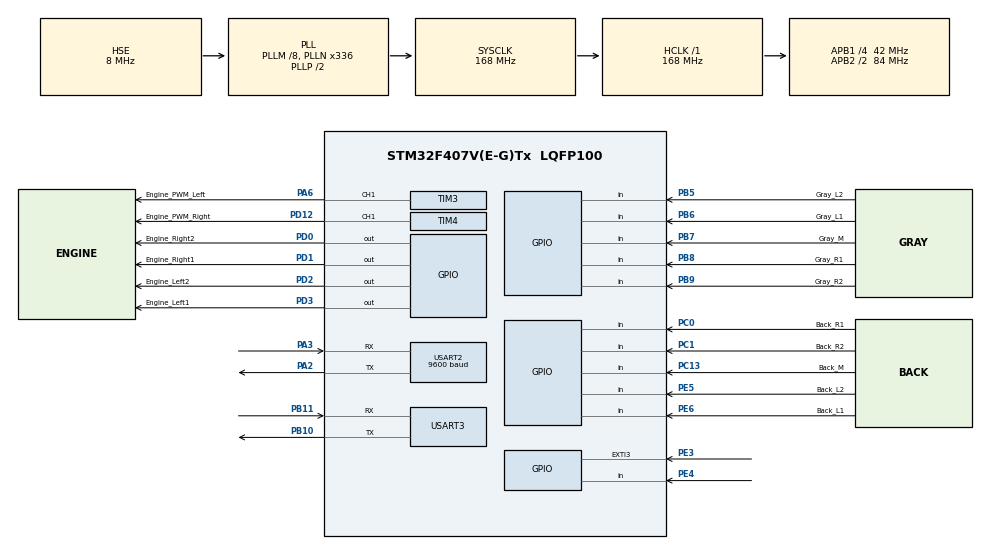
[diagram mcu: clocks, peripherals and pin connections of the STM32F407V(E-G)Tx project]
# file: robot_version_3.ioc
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Dma.Request0=USART3_RX
Dma.Request1=USART3_TX
Dma.Request2=USART2_RX
Dma.Request3=USART2_TX
Dma.USART2_RX.2.Direction=DMA_PERIPH_TO_MEMORY
Dma.USART2_RX.2.FIFOMode=DMA_FIFOMODE_DISABLE
Dma.USART2_RX.2.Instance=DMA1_Stream5
Dma.USART2_RX.2.MemDataAlignment=DMA_MDATAALIGN_BYTE
Dma.USART2_RX.2.MemInc=DMA_MINC_ENABLE
Dma.USART2_RX.2.Mode=DMA_NORMAL
Dma.USART2_RX.2.PeriphDataAlignment=DMA_PDATAALIGN_BYTE
Dma.USART2_RX.2.PeriphInc=DMA_PINC_DISABLE
Dma.USART2_RX.2.Priority=DMA_PRIORITY_LOW
Dma.USART2_TX.3.Direction=DMA_MEMORY_TO_PERIPH
Dma.USART2_TX.3.FIFOMode=DMA_FIFOMODE_DISABLE
Dma.USART2_TX.3.Instance=DMA1_Stream6
Dma.USART2_TX.3.MemDataAlignment=DMA_MDATAALIGN_BYTE
Dma.USART2_TX.3.MemInc=DMA_MINC_ENABLE
Dma.USART2_TX.3.Mode=DMA_NORMAL
Dma.USART2_TX.3.PeriphDataAlignment=DMA_PDATAALIGN_BYTE
Dma.USART2_TX.3.PeriphInc=DMA_PINC_DISABLE
Dma.USART2_TX.3.Priority=DMA_PRIORITY_LOW
Dma.USART3_RX.0.Direction=DMA_PERIPH_TO_MEMORY
Dma.USART3_RX.0.FIFOMode=DMA_FIFOMODE_DISABLE
Dma.USART3_RX.0.Instance=DMA1_Stream1
Dma.USART3_RX.0.MemDataAlignment=DMA_MDATAALIGN_BYTE
Dma.USART3_RX.0.MemInc=DMA_MINC_ENABLE
Dma.USART3_RX.0.Mode=DMA_NORMAL
Dma.USART3_RX.0.PeriphDataAlignment=DMA_PDATAALIGN_BYTE
Dma.USART3_RX.0.PeriphInc=DMA_PINC_DISABLE
Dma.USART3_RX.0.Priority=DMA_PRIORITY_LOW
Dma.USART3_TX.1.Direction=DMA_MEMORY_TO_PERIPH
Dma.USART3_TX.1.FIFOMode=DMA_FIFOMODE_DISABLE
Dma.USART3_TX.1.Instance=DMA1_Stream3
Dma.USART3_TX.1.MemDataAlignment=DMA_MDATAALIGN_BYTE
Dma.USART3_TX.1.MemInc=DMA_MINC_ENABLE
Dma.USART3_TX.1.Mode=DMA_NORMAL
Dma.USART3_TX.1.PeriphDataAlignment=DMA_PDATAALIGN_BYTE
Dma.USART3_TX.1.PeriphInc=DMA_PINC_DISABLE
Dma.USART3_TX.1.Priority=DMA_PRIORITY_LOW
Mcu.Family=STM32F4
Mcu.Name=STM32F407V(E-G)Tx
Mcu.Package=LQFP100
NVIC.DMA1_Stream1_IRQn=true\:0\:0\:false\:false\:true\:false\:true\:true
NVIC.DMA1_Stream3_IRQn=true\:0\:0\:false\:false\:true\:false\:true\:true
NVIC.DMA1_Stream5_IRQn=true\:0\:0\:false\:false\:true\:false\:true\:true
NVIC.DMA1_Stream6_IRQn=true\:0\:0\:false\:false\:true\:false\:true\:true
NVIC.EXTI3_IRQn=true\:12\:0\:true\:false\:true\:true\:true\:true
NVIC.PriorityGroup=NVIC_PRIORITYGROUP_4
NVIC.TIM2_IRQn=true\:1\:0\:true\:false\:true\:true\:true\:true
NVIC.TIM3_IRQn=true\:3\:0\:true\:false\:true\:true\:true\:true
NVIC.TIM4_IRQn=true\:3\:0\:true\:false\:true\:true\:true\:true
NVIC.TIM5_IRQn=true\:5\:0\:true\:false\:true\:true\:true\:true
NVIC.TIM6_DAC_IRQn=true\:7\:0\:true\:false\:true\:true\:true\:true
NVIC.USART2_IRQn=true\:0\:0\:false\:false\:true\:true\:true\:true
NVIC.USART3_IRQn=true\:6\:0\:true\:false\:true\:true\:true\:true
PA13.Mode=Serial_Wire
PA13.Signal=SYS_JTMS-SWDIO
PA14.Mode=Serial_Wire
PA14.Signal=SYS_JTCK-SWCLK
PA2.Mode=Asynchronous
PA2.Signal=USART2_TX
PA3.Mode=Asynchronous
PA3.Signal=USART2_RX
PA6.GPIO_Label=Engine_PWM_Left
PA6.Signal=S_TIM3_CH1
PB10.Mode=Asynchronous
PB10.Signal=USART3_TX
PB11.Mode=Asynchronous
PB11.Signal=USART3_RX
PB5.GPIO_Label=Gray_L2
PB5.Signal=GPIO_Input
PB6.GPIO_Label=Gray_L1
PB6.Signal=GPIO_Input
PB7.GPIO_Label=Gray_M
PB7.Signal=GPIO_Input
PB8.GPIO_Label=Gray_R1
PB8.Signal=GPIO_Input
PB9.GPIO_Label=Gray_R2
PB9.Signal=GPIO_Input
PC0.GPIO_Label=Back_R1
PC0.Signal=GPIO_Input
PC1.GPIO_Label=Back_R2
PC1.Signal=GPIO_Input
PC13-ANTI_TAMP.GPIO_Label=Back_M
PC13-ANTI_TAMP.Signal=GPIO_Input
PD0.GPIO_Label=Engine_Right2
PD0.Signal=GPIO_Output
PD1.GPIO_Label=Engine_Right1
PD1.Signal=GPIO_Output
PD12.GPIO_Label=Engine_PWM_Right
PD12.Signal=S_TIM4_CH1
PD2.GPIO_Label=Engine_Left2
PD2.Signal=GPIO_Output
PD3.GPIO_Label=Engine_Left1
PD3.Signal=GPIO_Output
PE3.GPIO_ModeDefaultEXTI=GPIO_MODE_IT_FALLING
PE3.GPIO_PuPd=GPIO_PULLUP
PE3.Signal=GPXTI3
PE4.GPIO_PuPd=GPIO_PULLUP
PE4.Signal=GPIO_Input
PE5.GPIO_Label=Back_L2
PE5.Signal=GPIO_Input
PE6.GPIO_Label=Back_L1
PE6.Signal=GPIO_Input
PH0-OSC_IN.Mode=HSE-External-Oscillator
PH0-OSC_IN.Signal=RCC_OSC_IN
PH1-OSC_OUT.Mode=HSE-External-Oscillator
PH1-OSC_OUT.Signal=RCC_OSC_OUT
ProjectManager.HeapSize=0x200
ProjectManager.StackSize=0x400
ProjectManager.TargetToolchain=STM32CubeIDE
RCC.48MHZClocksFreq_Value=84000000
RCC.AHBFreq_Value=168000000
RCC.APB1CLKDivider=RCC_HCLK_DIV4
RCC.APB1Freq_Value=42000000
RCC.APB1TimFreq_Value=84000000
RCC.APB2CLKDivider=RCC_HCLK_DIV2
RCC.APB2Freq_Value=84000000
RCC.APB2TimFreq_Value=168000000
RCC.CortexFreq_Value=168000000
RCC.HCLKFreq_Value=168000000
RCC.HSE_VALUE=8000000
RCC.HSI_VALUE=16000000
RCC.LSE_VALUE=32768
RCC.PLLM=8
RCC.PLLN=336
RCC.PLLSourceVirtual=RCC_PLLSOURCE_HSE
RCC.SYSCLKFreq_VALUE=168000000
RCC.SYSCLKSource=RCC_SYSCLKSOURCE_PLLCLK
RCC.VCOOutputFreq_Value=336000000
SH.S_TIM3_CH1.0=TIM3_CH1,PWM Generation1 CH1
SH.S_TIM4_CH1.0=TIM4_CH1,PWM Generation1 CH1
TIM2.Period=100-1
TIM2.Prescaler=84-1
TIM3.Channel-PWM\ Generation1\ CH1=TIM_CHANNEL_1
TIM3.Period=100-1
TIM3.Prescaler=84-1
TIM4.Channel-PWM\ Generation1\ CH1=TIM_CHANNEL_1
TIM4.Period=100-1
TIM4.Prescaler=84-1
TIM5.Period=10000-1
TIM5.Prescaler=8400-1
TIM6.Period=1000-1
TIM6.Prescaler=84-1
USART2.BaudRate=9600
USART2.VirtualMode=VM_ASYNC
USART3.VirtualMode=VM_ASYNC
VP_TIM2_VS_ClockSourceINT.Mode=Internal
VP_TIM3_VS_ClockSourceINT.Mode=Internal
VP_TIM3_VS_ClockSourceITR.Mode=TriggerSource_ITR1
VP_TIM4_VS_ClockSourceINT.Mode=Internal
VP_TIM4_VS_ClockSourceITR.Mode=TriggerSource_ITR1
VP_TIM5_VS_ClockSourceINT.Mode=Internal
VP_TIM6_VS_ClockSourceINT.Mode=Enable_Timer
board=custom

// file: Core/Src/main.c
/* USER CODE BEGIN Header */
/**
  ******************************************************************************
  * @file           : main.c
  * @brief          : Main program body
  ******************************************************************************
  * @attention
  *
  * Copyright (c) 2024 STMicroelectronics.
  * All rights reserved.
  *
  * This software is licensed under terms that can be found in the LICENSE file
  * in the root directory of this software component.
  * If no LICENSE file comes with this software, it is provided AS-IS.
  *
  ******************************************************************************
  */
/* USER CODE END Header */
#include "main.h"
#include "dma.h"
#include "tim.h"
#include "usart.h"
#include "gpio.h"

/* USER CODE BEGIN Includes */
#include "move.h"
#include "game.h"
#include <math.h>
#include <stdio.h>
#include <string.h>
#include <stdlib.h>
/* USER CODE END Includes */

/* USER CODE BEGIN PD */
#define IN 0
#define OUT 1
/* USER CODE END PD */

/* USER CODE BEGIN PV */
uint8_t TransmitData[200];//芯片发给电脑的模块参数信�?????????
//以上四个数组仅在传输信息时起效，1s更新1次，不在实时测算中起�?????????

int cross_cnt = 0;
int path_selection = 0;
int Timer_cnt = 0, Cross_fact = 0;
int Back_first = 1;

/* USER CODE END PV */

void SystemClock_Config(void);

/* USER CODE BEGIN 0 */
void HAL_TIM_PeriodElapsedCallback(TIM_HandleTypeDef *htim)
{
    if (htim->Instance == htim5.Instance) // 确认是正确的定时�?????????
    {
    	sprintf((char*)TransmitData, "巡线灰度传感器：%d %d %d %d %d \n"
    			, GrayData[1],GrayData[2],GrayData[3],BackData[1],BackData[3]);
    	HAL_UART_Transmit_DMA(&huart3, TransmitData, sizeof(TransmitData));//传输信息
    }//此为TIM5触发的中�?????????

    if(htim->Instance == htim6.Instance)		              //10ms中断
    {
    	//前置灰度传感器刷新数�???
        if(HAL_GPIO_ReadPin(Gray_L2_GPIO_Port, Gray_L2_Pin) == GPIO_PIN_SET)
        {
        	GrayData[0] = 1;
        }
        else if(HAL_GPIO_ReadPin(Gray_L2_GPIO_Port, Gray_L2_Pin) == GPIO_PIN_RESET)
        {
        	GrayData[0] = 0;
        }
        if(HAL_GPIO_ReadPin(Gray_L1_GPIO_Port, Gray_L1_Pin) == GPIO_PIN_SET)
        {
        	GrayData[1] = 1;
        }
        else if(HAL_GPIO_ReadPin(Gray_L1_GPIO_Port, Gray_L1_Pin) == GPIO_PIN_RESET)
        {
        	GrayData[1] = 0;
        }
        if(HAL_GPIO_ReadPin(Gray_M_GPIO_Port, Gray_M_Pin) == GPIO_PIN_SET)
        {
        	GrayData[2] = 1;
        }
        else if(HAL_GPIO_ReadPin(Gray_M_GPIO_Port, Gray_M_Pin) == GPIO_PIN_RESET)
        {
        	GrayData[2] = 0;
        }
        if(HAL_GPIO_ReadPin(Gray_R1_GPIO_Port, Gray_R1_Pin) == GPIO_PIN_SET)
        {
        	GrayData[3] = 1;
        }
        else if(HAL_GPIO_ReadPin(Gray_R1_GPIO_Port, Gray_R1_Pin) == GPIO_PIN_RESET)
        {
        	GrayData[3] = 0;
        }
        if(HAL_GPIO_ReadPin(Gray_R2_GPIO_Port, Gray_R2_Pin) == GPIO_PIN_SET)
        {
        	GrayData[4] = 1;
        }
        else if(HAL_GPIO_ReadPin(Gray_R2_GPIO_Port, Gray_R2_Pin) == GPIO_PIN_RESET)
        {
        	GrayData[4] = 0;
        }

        //后置灰度传感器刷新数�???
		if(HAL_GPIO_ReadPin(Back_L2_GPIO_Port, Back_L2_Pin) == GPIO_PIN_SET)
		{
			BackData[0] = 1;
		}
		else if(HAL_GPIO_ReadPin(Back_L2_GPIO_Port, Back_L2_Pin) == GPIO_PIN_RESET)
		{
			BackData[0] = 0;
		}
		if(HAL_GPIO_ReadPin(Back_L1_GPIO_Port, Back_L1_Pin) == GPIO_PIN_SET)
		{
			BackData[1] = 1;
		}
		else if(HAL_GPIO_ReadPin(Back_L1_GPIO_Port, Back_L1_Pin) == GPIO_PIN_RESET)
		{
			BackData[1] = 0;
		}
		if(HAL_GPIO_ReadPin(Back_M_GPIO_Port, Back_M_Pin) == GPIO_PIN_SET)
		{
			BackData[2] = 1;
		}
		else if(HAL_GPIO_ReadPin(Back_M_GPIO_Port, Back_M_Pin) == GPIO_PIN_RESET)
		{
			BackData[2] = 0;
		}
		if(HAL_GPIO_ReadPin(Back_R1_GPIO_Port, Back_R1_Pin) == GPIO_PIN_SET)
		{
			BackData[3] = 1;
		}
		else if(HAL_GPIO_ReadPin(Back_R1_GPIO_Port, Back_R1_Pin) == GPIO_PIN_RESET)
		{
			BackData[3] = 0;
		}
		if(HAL_GPIO_ReadPin(Back_R2_GPIO_Port, Back_R2_Pin) == GPIO_PIN_SET)
		{
			BackData[4] = 1;
		}
		else if(HAL_GPIO_ReadPin(Back_R2_GPIO_Port, Back_R2_Pin) == GPIO_PIN_RESET)
		{
			BackData[4] = 0;
		}
		Timer_cnt++; // 1ms自增一次的定时器计数变量
    }//此为TIM6触发的中�?????????
}
//TIM5每秒溢出触发回调函数向计算机发�?�参�???????

void HAL_GPIO_EXTI_Callback(uint16_t GPIO_Pin)
{
	if(HAL_GPIO_ReadPin(GPIOE, GPIO_PIN_3) == GPIO_PIN_RESET)
	{
		HAL_Delay(50);
		if(HAL_GPIO_ReadPin(GPIOE, GPIO_PIN_3) == GPIO_PIN_RESET)
		{
			if(path_selection <= 8)
			path_selection++;
			else if(path_selection == 9)
			path_selection = 0;
		}
	}
}
/* USER CODE END 0 */

int main(void)
{

  /* MCU Configuration--------------------------------------------------------*/

  /* Reset of all peripherals, Initializes the Flash interface and the Systick. */
  HAL_Init();

  /* Configure the system clock */
  SystemClock_Config();

  /* Initialize all configured peripherals */
  MX_GPIO_Init();
  MX_DMA_Init();
  MX_TIM2_Init();
  MX_TIM3_Init();
  MX_TIM4_Init();
  MX_TIM5_Init();
  MX_TIM6_Init();
  MX_USART3_UART_Init();
  MX_USART2_UART_Init();
  /* USER CODE BEGIN 2 */
  Engine_Init();
  GraySensor_Init();
  HAL_TIM_Base_Start_IT(&htim5);//初始化TIM5，用于发送非阻塞信息
  Robotic_Arm_Move(0);
  HAL_Delay(2000);

  int path[10][80] = {{3,3,6,8,3,9,3,6,1,3,3,3,6,10,3,6,1,3,4,5,2,3,3,9,3,6,1,1,3,6,1,3,6,2,3,3,3,6,13,3,6,2,3,3,6,0}
  ,{3,6,1,3,11,3,6,2,3,3,6,1,12,5,1,1,3,3,11,5,1,3,3,3,3,6,1,3,12,0}
  ,{3,6,1,3,3,11,3,3,6,2,3,3,3,3,6,1,3,12,0}
  ,{3,3,6,1,3,9,3,6,2,3,3,6,1,3,6,10,3,3,4,5,1,3,3,6,1,3,3,11,5,1,3,3,3,6,1,3,12,0}
  ,{3,3,6,1 ,3,6,2,3,6,2,14,5,1,3,3,6,2,14,5,1,3,3,6,2,14,0}};
  //第一条路为最�?????????单三分，第二条路为去对面拿三分，第三条路为己方右边三分，第四条路为勾出对面物块，第五条路为挡住对面去�?????????
  //路径运动参数�????0 终止�???? 1 左转�???? 2 右转�???? 3 直行�???? 4前置判断停车 5 倒车�???? 6 停至路口（0前进后）； 7 首路左转； 8 首路右转
  //14
  //机械臂动 9 抓取物块;10 右方放置前物块； 11 抓环 ；12 套环； 13 左方放置前物块 ;14 偷环
  /* USER CODE END 2 */

  /* Infinite loop */
  /* USER CODE BEGIN WHILE */
  while (1)
  {
	  if(path[path_selection][cross_cnt] == 0){
//		  Move_Twin_Wheels(70, 70);
//		  HAL_Delay(80);
		  Move_Twin_Wheels(0, 0);
		  while(1);
	  }else if(path[path_selection][cross_cnt] == 1){
		  Move_Turn(1,0);
		  cross_cnt++;

//		  for(int i = 0; i < 20; i++){
//			  Move_Straight(1);
//		  }
	  }else if(path[path_selection][cross_cnt] == 2){
		  Move_Turn(2,0);
		  cross_cnt++;

//		  for(int i = 0; i < 20; i++){
//			  Move_Straight(1);
//		  }
	  }else if(path[path_selection][cross_cnt] == 3){
		  Move_Straight(1);
	  }
//	  else if(path[path_selection][cross_cnt] == 4){
//		  Move_Straight(3);
//	  }
	  else if(path[path_selection][cross_cnt] == 5)
	  {
//		  Move_Straight(2);
		  if(Back_first == 1)
		  {
			  Move_Twin_Wheels(-72,-71);
			  HAL_Delay(800);
			  Back_first = 0;
		  }
		  Move_Twin_Wheels(-72,-71);
	      if(BackData[0] == IN && BackData[1] == IN && BackData[2] == IN && BackData[3] == IN && BackData[4] == IN)
	      {
			  Move_Twin_Wheels(80, 80);
			  HAL_Delay(30);
			  Move_Twin_Wheels(0, 0);
			  HAL_Delay(70);
			  Back_first = 1;
			  cross_cnt++;
	      }
	  }
	  else if(path[path_selection][cross_cnt] == 6)
	  {
		  cross_cnt++;
		  Move_Stop(0);
	  }
	  else if(path[path_selection][cross_cnt] == 7)
	  {
		  cross_cnt++;
		    Move_Turn(1,1);
	  }
	  else if(path[path_selection][cross_cnt] == 8)
	  {
		  Move_Turn(2,1);
		  cross_cnt++;
	  }
	  else if(path[path_selection][cross_cnt] == 9)
	  {
			//刹车至轮胎中心
		  cross_cnt++;
		  Move_Twin_Wheels(60, 60);			//0, 0
		  HAL_Delay(200);	//100			//50
		  Move_Twin_Wheels(0, 0);			//0, 0
		  HAL_Delay(100);	//100			//50
		  Robotic_Arm_Move(1);
		  HAL_Delay(2500);
	  }
	  else if(path[path_selection][cross_cnt] == 10)
	  {
		  Robotic_Arm_Move(2);
		  HAL_Delay(2500);//
		  Robotic_Arm_Move(0);
		  HAL_Delay(1000);//
		  cross_cnt++;
	  }
	  else if(path[path_selection][cross_cnt] == 11)
	  {
		  cross_cnt++;
		  Move_Twin_Wheels(60, 60);			//0, 0
		  HAL_Delay(200);	//100			//50
		  Move_Twin_Wheels(0, 0);			//0, 0
		  HAL_Delay(100);	//100			//50
		  Robotic_Arm_Move(3);
		  HAL_Delay(3000);//
	  }
	  else if(path[path_selection][cross_cnt] == 12)
	  {
		  for(int i = 0; i < 800; i++){
			  Move_Straight(1);
			  HAL_Delay(1);
		  }
		  Move_Twin_Wheels(0, 0);
		  HAL_Delay(50);
		  Robotic_Arm_Move(4);
		  HAL_Delay(1300);//
		  Robotic_Arm_Move(0);
		  HAL_Delay(1000);//
		  cross_cnt++;
	  }
	  else if(path[path_selection][cross_cnt] == 13)
	  {
		  Robotic_Arm_Move(6);
		  HAL_Delay(5000);//
		  Robotic_Arm_Move(0);
		  HAL_Delay(500);//
		  cross_cnt++;
	  }
	  else if(path[path_selection][cross_cnt] == 14)
	  {
		  for(int i = 0; i < 800; i++)
		  {
			  Move_Straight(1);
			  HAL_Delay(1);
		  }
		  Move_Twin_Wheels(0, 0);
		  HAL_Delay(50);
		  Robotic_Arm_Move(5);
		  HAL_Delay(8000);//
		  Robotic_Arm_Move(0);
		  HAL_Delay(1000);//
		  cross_cnt++;
	  }
	  if(Timer_cnt >= 600)
	  {
		  Cross_fact = 1;
	  }

	  if(Judge_cross() == 1 && Cross_fact == 1){
		  cross_cnt++;
		  Timer_cnt = 0;
		  Cross_fact = 0;
	  }

	    if(HAL_GPIO_ReadPin(GPIOE, GPIO_PIN_4) == GPIO_PIN_RESET) // �?????????????测到按键按下
	    {
	        HAL_Delay(50); // 50ms单延迟，以便于消�?????????
	        if(HAL_GPIO_ReadPin(GPIOE, GPIO_PIN_4) == GPIO_PIN_RESET) // 再次确认按键确实被按�?????????
	        {
	      	  HAL_PWR_EnterSTANDBYMode();
	      	  break;
	        }
	    }
    /* USER CODE END WHILE */

  }
}

void SystemClock_Config(void)
{
  RCC_OscInitTypeDef RCC_OscInitStruct = {0};
  RCC_ClkInitTypeDef RCC_ClkInitStruct = {0};

  /** Configure the main internal regulator output voltage
  */
  __HAL_RCC_PWR_CLK_ENABLE();
  __HAL_PWR_VOLTAGESCALING_CONFIG(PWR_REGULATOR_VOLTAGE_SCALE1);

  /** Initializes the RCC Oscillators according to the specified parameters
  * in the RCC_OscInitTypeDef structure.
  */
  RCC_OscInitStruct.OscillatorType = RCC_OSCILLATORTYPE_HSE;
  RCC_OscInitStruct.HSEState = RCC_HSE_ON;
  RCC_OscInitStruct.PLL.PLLState = RCC_PLL_ON;
  RCC_OscInitStruct.PLL.PLLSource = RCC_PLLSOURCE_HSE;
  RCC_OscInitStruct.PLL.PLLM = 8;
  RCC_OscInitStruct.PLL.PLLN = 336;
  RCC_OscInitStruct.PLL.PLLP = RCC_PLLP_DIV2;
  RCC_OscInitStruct.PLL.PLLQ = 4;
  if (HAL_RCC_OscConfig(&RCC_OscInitStruct) != HAL_OK)
  {
    Error_Handler();
  }

  /** Initializes the CPU, AHB and APB buses clocks
  */
  RCC_ClkInitStruct.ClockType = RCC_CLOCKTYPE_HCLK|RCC_CLOCKTYPE_SYSCLK
                              |RCC_CLOCKTYPE_PCLK1|RCC_CLOCKTYPE_PCLK2;
  RCC_ClkInitStruct.SYSCLKSource = RCC_SYSCLKSOURCE_PLLCLK;
  RCC_ClkInitStruct.AHBCLKDivider = RCC_SYSCLK_DIV1;
  RCC_ClkInitStruct.APB1CLKDivider = RCC_HCLK_DIV4;
  RCC_ClkInitStruct.APB2CLKDivider = RCC_HCLK_DIV2;

  if (HAL_RCC_ClockConfig(&RCC_ClkInitStruct, FLASH_LATENCY_5) != HAL_OK)
  {
    Error_Handler();
  }
}

void Error_Handler(void)
{
  __disable_irq();
  while (1)
  {
  }
}
